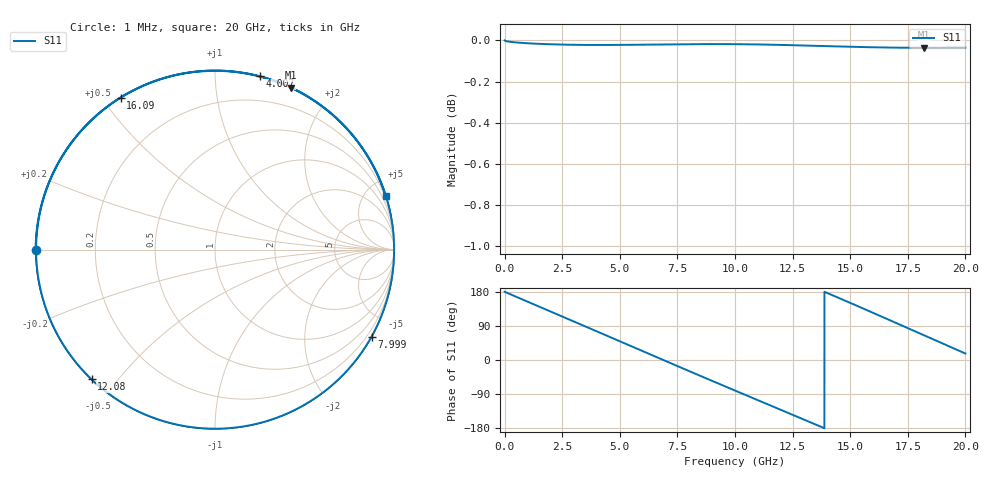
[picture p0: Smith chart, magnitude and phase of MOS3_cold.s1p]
# GHz S RI R 50
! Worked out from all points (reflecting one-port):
!   10001 points, 1 MHz to 20 GHz, reference 50 ohm
!   lowest |S11| = 0.0 dB at 18.21 GHz (marker M1), VSWR 480.31, Z = 0.362 + j78.6 ohm
!   phase of S11 starts at 180 deg and turns -523 deg over the sweep
!   S11 on the Smith chart (normalised r, x): 1 MHz: 0.00, +0.00; 4.007 GHz: 0.00, +1.29; 7.999 GHz: 0.02, -3.86; 12.08 GHz: 0.00, -0.43; 16.09 GHz: 0.00, +0.56; 20 GHz: 0.09, +6.63
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0.001  -0.9999 0.000505
0.585  -0.9636 0.2625
1.181  -0.858 0.5102
1.871  -0.6587 0.7496
2.501  -0.4196 0.9051
3.259  -0.0879 0.9936
4.007  0.2507 0.9654
5.001  0.65 0.7566
5.661  0.846 0.5286
6.283  0.9605 0.2696
6.891  0.9977 -0.00399
7.501  0.9585 -0.2773
7.999  0.8722 -0.4848
9.047  0.5561 -0.8286
10.001  0.1631 -0.9845
11.015  -0.283 -0.9567
12.077  -0.6875 -0.7226
12.501  -0.8111 -0.5803
13.145  -0.9425 -0.3254
13.765  -0.9955 -0.0528
14.379  -0.9713 0.2231
15.001  -0.8694 0.4867
16.093  -0.5252 0.8464
16.807  -0.2193 0.9715
17.501  0.1029 0.9905
18.213  0.4224 0.9018
19.167  0.7705 0.631
20.001  0.9517 0.2936
